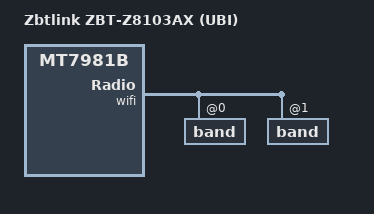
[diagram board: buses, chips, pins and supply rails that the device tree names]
// SPDX-License-Identifier: GPL-2.0-or-later OR MIT

/dts-v1/;

#include "mt7981b-zbtlink-zbt-z8103ax.dtsi"

/ {
	model = "Zbtlink ZBT-Z8103AX (UBI)";
	compatible = "zbtlink,zbt-z8103ax-ubi", "mediatek,mt7981b";
};

&chosen {
	bootargs = "earlycon=uart8250,mmio32,0x11002000 console=ttyS0,115200n8 loglevel=8 root=/dev/fit0 rootwait";
	rootdisk = <&ubi_rootdisk>;
};

&partitions {
	/delete-node/ partition@100000;
	/* Factory/FIP data live in UBI volumes (factory/fip) in this layout */
	/delete-node/ partition@180000;
	/delete-node/ partition@380000;

	partition@100000 {
		reg = <0x100000 0x0>;
		compatible = "linux,ubi";
		label = "ubi";

		volumes {
			ubi_factory: ubi-volume-factory {
				volname = "factory";
			};

			ubi-volume-fip {
				volname = "fip";
			};

			ubi_rootdisk: ubi-volume-fit {
				volname = "fit";
			};

			ubi_ubootenv: ubi-volume-ubootenv {
				volname = "ubootenv";
			};

			ubi_ubootenv2: ubi-volume-ubootenv2 {
				volname = "ubootenv2";
			};
		};
	};
};

&ubi_factory {
	nvmem-layout {
		compatible = "fixed-layout";
		#address-cells = <1>;
		#size-cells = <1>;

		eeprom_factory_0: eeprom@0 {
			reg = <0x0 0x1000>;
		};

		macaddr_factory_4: macaddr@4 {
			compatible = "mac-base";
			reg = <0x4 0x6>;
			#nvmem-cell-cells = <1>;
		};
	};
};

&ubi_ubootenv {
	nvmem-layout {
		compatible = "u-boot,env-redundant-bool";
	};
};

&ubi_ubootenv2 {
	nvmem-layout {
		compatible = "u-boot,env-redundant-bool";
	};
};

&gmac1 {
	nvmem-cell-names = "mac-address";
	nvmem-cells = <&macaddr_factory_4 (1)>;
};

&wifi {
	status = "okay";

	#address-cells = <1>;
	#size-cells = <0>;

	nvmem-cells = <&eeprom_factory_0>;
	nvmem-cell-names = "eeprom";

	band@0 {
		reg = <0>;

		nvmem-cells = <&macaddr_factory_4 (2)>;
		nvmem-cell-names = "mac-address";
	};

	band@1 {
		reg = <1>;

		nvmem-cells = <&macaddr_factory_4 (3)>;
		nvmem-cell-names = "mac-address";
	};
};
